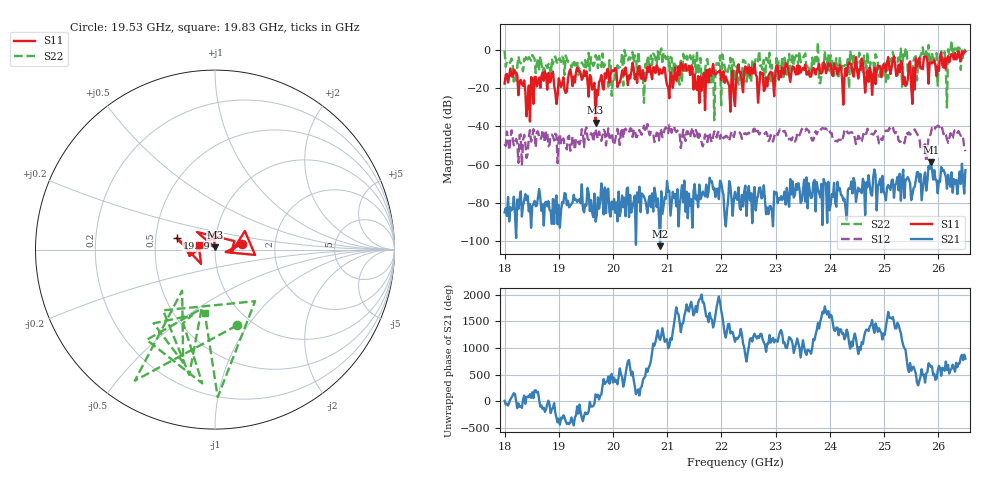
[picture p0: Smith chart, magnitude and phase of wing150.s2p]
!Keysight Technologies,N5242B,MY47200105,A.14.00.23
!Date: Friday, May 10, 2024 11:05:07
!Correction: S11(C  2-Port  )
!S21(C  2-Port  )
!S12(C  2-Port  )
!S22(C  2-Port  )
!S2P File: Measurement: :
# Hz S  RI  R 50
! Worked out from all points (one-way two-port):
!   401 points, 18 GHz to 26.5 GHz, reference 50 ohm
!   highest |S21| = -58.77 dB at 25.86 GHz (marker M1); lowest = -102.8 dB at 20.87 GHz (marker M2)
!   lowest |S11| = -38.0 dB at 19.68 GHz (marker M3), VSWR 1.03, Z = 49.9 + j1.25 ohm
!   |S11| at or under -10 dB: 18.11 GHz to 19.33 GHz (1.222 GHz wide, 6.53 % of centre); 19.35 GHz to 19.9 GHz (551.1 MHz wide, 2.81 % of centre); 21.86 GHz to 22.3 GHz (439.6 MHz wide, 1.99 % of centre) (the widest 3 of 59)
!   |S22| runs from -36.7 to 5.1 dB; largest |S21 - S12| = 0.012
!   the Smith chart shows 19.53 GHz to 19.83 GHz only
!   S11 on the Smith chart (normalised r, x): 19.53 GHz: 1.35, +0.09; 19.79 GHz: 0.64, +0.09; 19.83 GHz: 0.83, +0.04
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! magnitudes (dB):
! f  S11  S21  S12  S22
! 18 GHz  -17.5  -85.1  -49.1  -0.2
! 18.43 GHz  -28.0  -76.4  -54.5  -4.9
! 18.72 GHz  -16.0  -92.0  -44.6  -9.3
! 19.42 GHz  -15.5  -70.3  -41.4  -6.4
! 19.53 GHz  -16.4  -72.2  -46.1  -7.1
! 19.68 GHz  -38.0  -89.9  -41.3  -2.5
! 19.79 GHz  -13.0  -69.9  -47.6  -8.8
! 19.83 GHz  -20.6  -86.1  -41.7  -8.9
! 20.02 GHz  -11.0  -78.1  -49.8  -16.5
! 20.38 GHz  -9.3  -79.5  -42.3  -6.6
! 20.55 GHz  -10.4  -75.8  -41.7  -13.7
! 20.85 GHz  -12.7  -87.5  -47.3  -4.6
! 20.87 GHz  -10.0  -102.8  -41.3  -1.3
! 21.23 GHz  -12.9  -81.1  -44.2  -18.1
! 21.4 GHz  -8.1  -75.1  -44.5  -4.4
! 21.85 GHz  -7.2  -72.9  -45.3  -8.9
! 22.25 GHz  -29.3  -74.3  -42.8  -16.3
! 23.67 GHz  -10.6  -77.0  -47.4  -3.9
! 25.1 GHz  -8.7  -72.0  -40.7  -5.9
! 25.76 GHz  -3.5  -64.1  -49.4  -4.2
! 25.86 GHz  -6.3  -58.8  -43.6  -7.6
! 26.5 GHz  -0.6  -62.9  -52.9  0.6
